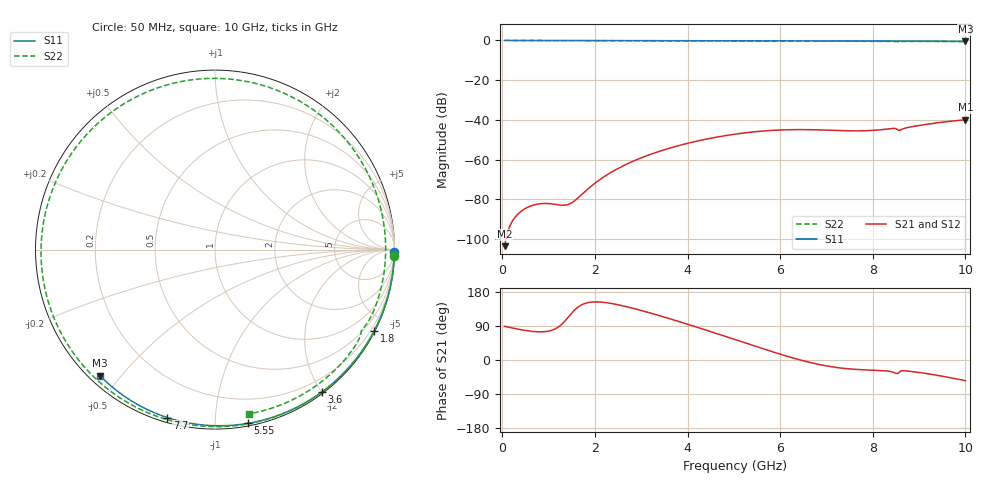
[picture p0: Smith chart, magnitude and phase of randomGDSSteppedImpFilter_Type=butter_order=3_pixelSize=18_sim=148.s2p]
! freq	dB(S11)	phase(S11)	dB(S12)	phase(S12)
!  dB(S21)	phase(S21)	dB(S22)	phase(S22)
!S-par simulation data
#  GHz  S  DB  R 50
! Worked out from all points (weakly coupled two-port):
!   200 points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, 50 MHz to 10 GHz, reference 50 ohm
!   highest |S21| = -39.92 dB at 10 GHz (marker M1); lowest = -103.5 dB at 50 MHz (marker M2)
!   lowest |S11| = -0.4 dB at 10 GHz (marker M3), VSWR 39.36, Z = 1.52 - j22.1 ohm
!   |S11| at or under -10 dB: nowhere
!   |S22| runs from -0.6 to 0.0 dB; largest |S21 - S12| = 0
!   S11 on the Smith chart (normalised r, x): 50 MHz: open; 1.8 GHz: 0.04, -4.14; 3.6 GHz: 0.02, -2.00; 5.55 GHz: 0.02, -1.21; 7.7 GHz: 0.02, -0.76; 10 GHz: 0.03, -0.44
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0.05  -0.00 -0.8  -103.49 88.8  -103.49 88.8  -0.00 -1.9
0.8  -0.02 -12.2  -82.20 74.3  -82.20 74.3  -0.04 -30.1
1.6  -0.03 -24.2  -79.93 136.3  -79.93 136.3  -0.08 -60.0
1.75  -0.03 -26.4  -76.80 147.6  -76.80 147.6  -0.08 -65.6
1.8  -0.03 -27.2  -75.75 149.8  -75.75 149.8  -0.09 -67.5
2.15  -0.04 -32.3  -69.31 152.6  -69.31 152.6  -0.10 -80.6
2.6  -0.05 -38.9  -63.19 143.1  -63.19 143.1  -0.13 -97.6
3.4  -0.07 -50.3  -55.71 116.8  -55.71 116.8  -0.18 -129.0
3.6  -0.07 -53.1  -54.27 109.5  -54.27 109.5  -0.19 -137.1
4.35  -0.09 -63.4  -49.90 80.8  -49.90 80.8  -0.25 -169.7
4.7  -0.10 -68.1  -48.34 67.0  -48.34 67.0  -0.28 173.9
5.05  -0.11 -72.8  -47.06 52.9  -47.06 52.9  -0.32 156.4
5.55  -0.13 -79.3  -45.73 32.9  -45.73 32.9  -0.36 129.7
5.85  -0.14 -83.1  -45.22 21.1  -45.22 21.1  -0.38 112.8
6.15  -0.15 -86.9  -44.92 9.9  -44.92 9.9  -0.40 95.4
6.7  -0.18 -93.7  -44.92 -8.0  -44.92 -8.0  -0.42 63.2
7.2  -0.21 -99.8  -45.28 -19.5  -45.28 -19.5  -0.43 35.0
7.7  -0.24 -105.8  -45.47 -25.2  -45.47 -25.2  -0.43 8.8
8.35  -0.29 -113.4  -44.46 -29.7  -44.46 -29.7  -0.47 -21.3
8.55  -0.30 -115.7  -45.17 -35.0  -45.17 -35.0  -0.61 -29.0
9.15  -0.36 -122.6  -42.24 -35.7  -42.24 -35.7  -0.49 -51.6
10  -0.44 -132.3  -39.92 -54.5  -39.92 -54.5  -0.59 -78.5
